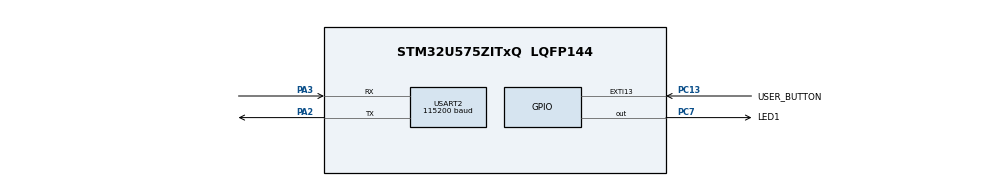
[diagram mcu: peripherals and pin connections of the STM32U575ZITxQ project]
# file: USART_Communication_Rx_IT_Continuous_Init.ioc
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CORTEX_M33_NS.userName=CORTEX_M33
Mcu.Family=STM32U5
Mcu.Name=STM32U575ZITxQ
Mcu.Package=LQFP144
NVIC.EXTI13_IRQn=true\:3\:0\:true\:false\:true\:true\:true\:true
NVIC.PriorityGroup=NVIC_PRIORITYGROUP_4
NVIC.USART2_IRQn=true\:0\:0\:false\:false\:true\:true\:true\:true
PA2.GPIO_PuPd=GPIO_NOPULL
PA2.GPIO_Speed=GPIO_SPEED_FREQ_HIGH
PA2.Mode=Asynchronous
PA2.Signal=USART2_TX
PA3.GPIO_PuPd=GPIO_NOPULL
PA3.GPIO_Speed=GPIO_SPEED_FREQ_HIGH
PA3.Mode=Asynchronous
PA3.Signal=USART2_RX
PC13.GPIO_Label=USER_BUTTON
PC13.GPIO_ModeDefaultEXTI=GPIO_MODE_IT_FALLING
PC13.GPIO_PuPd=GPIO_NOPULL
PC13.Signal=GPXTI13
PC7.GPIO_Label=LED1
PC7.GPIO_PuPd=GPIO_NOPULL
PC7.Signal=GPIO_Output
PWR.PowerMode=PWR_SMPS_SUPPLY
ProjectManager.HeapSize=0x200
ProjectManager.StackSize=0x400
ProjectManager.TargetToolchain=EWARM V8.50
RCC.ADCFreq_Value=16000000
RCC.AHBFreq_Value=160000000
RCC.APB1Freq_Value=160000000
RCC.APB1TimFreq_Value=160000000
RCC.APB2Freq_Value=160000000
RCC.APB2TimFreq_Value=160000000
RCC.APB3Freq_Value=160000000
RCC.CortexFreq_Value=160000000
RCC.DACCLockSelectionVirtual=RCC_DAC1CLKSOURCE_LSI
RCC.DACCLockSelectionVirtualString=RCC_DAC1CLKSOURCE_LSI
RCC.EPOD_VALUE=4000000
RCC.HCLKFreq_Value=160000000
RCC.HSE_VALUE=16000000
RCC.HSI48_VALUE=48000000
RCC.HSI_VALUE=16000000
RCC.LSE_VALUE=32768
RCC.LSIDIV_VALUE=32000
RCC.MSI_VALUE=4000000
RCC.PLLN=80
RCC.SYSCLKFreq_VALUE=160000000
RCC.SYSCLKSource=RCC_SYSCLKSOURCE_PLLCLK
RCC.USBFreq_Value=48000000
RCC.VCOOutputFreq_Value=320000000
USART2.AutoBaudRateEnableParam=UART_ADVFEATURE_AUTOBAUDRATE_DISABLE
USART2.BaudRate=115200
USART2.ClockPrescaler=PRESCALER_DIV1
USART2.DMADisableonRxErrorParam=ADVFEATURE_DMA_ENABLEONRXERROR
USART2.DataInvertParam=ADVFEATURE_DATAINV_DISABLE
USART2.FIFOMode=FIFOMODE_DISABLE
USART2.MSBFirstParam=ADVFEATURE_MSBFIRST_DISABLE
USART2.Mode=MODE_TX_RX
USART2.OneBitSampling=UART_ONE_BIT_SAMPLE_DISABLE
USART2.OverSampling=UART_OVERSAMPLING_16
USART2.OverrunDisableParam=ADVFEATURE_OVERRUN_ENABLE
USART2.Parity=PARITY_NONE
USART2.RXFIFOThreshold=RXFIFO_THRESHOLD_1EIGHTHFULL
USART2.RxPinLevelInvertParam=ADVFEATURE_RXINV_DISABLE
USART2.StopBits=STOPBITS_1
USART2.SwapParam=ADVFEATURE_SWAP_DISABLE
USART2.TXFIFOThreshold=TXFIFO_THRESHOLD_1EIGHTHFULL
USART2.TxPinLevelInvertParam=ADVFEATURE_TXINV_DISABLE
USART2.VirtualMode-Asynchronous=VM_ASYNC
USART2.WordLength=WORDLENGTH_8B
VP_ICACHE_VS_ICACHE.Mode=DirectMappedCache
VP_LPBAMQUEUE_VS_QUEUE.Mode=QUEUEMODE
VP_LPBAM_VS_SIG1.Mode=SmartRun
VP_LPBAM_VS_SIG4.Mode=LPDMA1
VP_PWR_VS_DBSignals.Mode=DisableDeadBatterySignals
VP_PWR_VS_LPOM.Mode=PowerOptimisation
VP_PWR_VS_SECSignals.Mode=Security/Privilege
board=custom

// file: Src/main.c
/* USER CODE BEGIN Header */
/**
  ******************************************************************************
  * @file    Examples_LL/USART/USART_Communication_Rx_IT_Continuous_Init/Src/main.c
  * @author  MCD Application Team
  * @brief   This example describes how to send bytes over USART IP using
  *          the STM32U5xx USART LL API.
  *          Peripheral initialization done using LL unitary services functions.
  ******************************************************************************
  * @attention
  *
  * Copyright (c) 2021 STMicroelectronics.
  * All rights reserved.
  *
  * This software is licensed under terms that can be found in the LICENSE file
  * in the root directory of this software component.
  * If no LICENSE file comes with this software, it is provided AS-IS.
  *
  ******************************************************************************
  */
/* USER CODE END Header */
#include "main.h"

/* USER CODE BEGIN PD */

#define RX_BUFFER_SIZE   12

/* USER CODE END PD */

/* USER CODE BEGIN PV */

__IO uint8_t ubButtonPress = 0;

/**
  * @brief Text strings printed on PC Com port for user information
  */
uint8_t aTextInfoStart[] = "\r\nUSART Example : Enter characters to fill reception buffers.\r\n";
uint8_t aTextInfoSwap1[] = "\r\n- Current RX buffer is full : ";
uint8_t aTextInfoSwap2[] = "\r\n- Reception will go on in alternate buffer\r\n";

/**
  * @brief RX buffers for storing received data
  */
uint8_t aRXBufferA[RX_BUFFER_SIZE];
uint8_t aRXBufferB[RX_BUFFER_SIZE];
__IO uint32_t     uwNbReceivedChars;
__IO uint32_t     uwBufferReadyIndication;
uint8_t *pBufferReadyForUser;
uint8_t *pBufferReadyForReception;

/* USER CODE END PV */

void SystemClock_Config(void);
static void SystemPower_Config(void);
static void MX_GPIO_Init(void);
static void MX_ICACHE_Init(void);
static void MX_USART2_UART_Init(void);
/* USER CODE BEGIN PFP */

void     HandleContinuousReception(void);
void     LED_Off(void);
void     LED_Blinking(uint32_t Period);
void     WaitForUserButtonPress(void);
void     PrintInfo(uint8_t *String, uint32_t Size);
void     UserDataTreatment(uint8_t *DataBuffer, uint32_t Size);
void     StartReception(void);
/* USER CODE END PFP */

int main(void)
{

  /* MCU Configuration--------------------------------------------------------*/

  /* Reset of all peripherals, Initializes the Flash interface and the Systick. */

  /* System interrupt init*/
  NVIC_SetPriorityGrouping(NVIC_PRIORITYGROUP_4);

  /* Enable PWR clock interface */

  LL_AHB3_GRP1_EnableClock(LL_AHB3_GRP1_PERIPH_PWR);

  /* Configure the System Power */
  SystemPower_Config();

  /* Configure the system clock */
  SystemClock_Config();

  /* Initialize all configured peripherals */
  MX_GPIO_Init();
  MX_ICACHE_Init();
  MX_USART2_UART_Init();
  /* USER CODE BEGIN 2 */

  /* Polling USART initialisation */
  /* Set LED1 Off */
  LED_Off();

  /* Wait for User push-button press to start transfer */
  WaitForUserButtonPress();

  /* Initiate Continuous reception */
  StartReception();

  /* USER CODE END 2 */

  /* Infinite loop */
  /* USER CODE BEGIN WHILE */
  while (1)
  {
    /* Handle Continuous reception */
    HandleContinuousReception();
    /* USER CODE END WHILE */

  }
}

void SystemClock_Config(void)
{
  LL_FLASH_SetLatency(LL_FLASH_LATENCY_4);
  while(LL_FLASH_GetLatency()!= LL_FLASH_LATENCY_4)
  {
  }

  LL_PWR_SetRegulVoltageScaling(LL_PWR_REGU_VOLTAGE_SCALE1);
  while (LL_PWR_IsActiveFlag_VOS() == 0)
  {
  }
  LL_RCC_MSIS_Enable();

   /* Wait till MSIS is ready */
  while(LL_RCC_MSIS_IsReady() != 1)
  {
  }

  LL_RCC_MSI_EnableRangeSelection();
  LL_RCC_MSIS_SetRange(LL_RCC_MSISRANGE_4);
  LL_RCC_MSI_SetCalibTrimming(16, LL_RCC_MSI_OSCILLATOR_1);
  LL_RCC_PLL1_ConfigDomain_SYS(LL_RCC_PLL1SOURCE_MSIS, 1, 80, 2);
  LL_RCC_PLL1_EnableDomain_SYS();
  LL_RCC_SetPll1EPodPrescaler(LL_RCC_PLL1MBOOST_DIV_1);
  LL_RCC_PLL1_SetVCOInputRange(LL_RCC_PLLINPUTRANGE_4_8);
  LL_RCC_PLL1_Enable();

   /* Wait till PLL is ready */
  while(LL_RCC_PLL1_IsReady() != 1)
  {
  }

   /* Intermediate AHB prescaler 2 when target frequency clock is higher than 80 MHz */
  LL_RCC_SetAHBPrescaler(LL_RCC_SYSCLK_DIV_2);

  LL_RCC_SetSysClkSource(LL_RCC_SYS_CLKSOURCE_PLL1);

   /* Wait till System clock is ready */
  while(LL_RCC_GetSysClkSource() != LL_RCC_SYS_CLKSOURCE_STATUS_PLL1)
  {
  }

  /* Insure 1us transition state at intermediate medium speed clock*/
  for (__IO uint32_t i = (160 >> 1); i !=0; i--);

  LL_RCC_SetAHBPrescaler(LL_RCC_SYSCLK_DIV_1);
  LL_RCC_SetAPB1Prescaler(LL_RCC_APB1_DIV_1);
  LL_RCC_SetAPB2Prescaler(LL_RCC_APB2_DIV_1);
  LL_RCC_SetAPB3Prescaler(LL_RCC_APB3_DIV_1);

  LL_Init1msTick(160000000);

  LL_SetSystemCoreClock(160000000);
}

/**
  * @brief Power Configuration
  * @retval None
  */
static void SystemPower_Config(void)
{

  /*
   * Disable the internal Pull-Up in Dead Battery pins of UCPD peripheral
   */
  LL_PWR_DisableUCPDDeadBattery();

  /*
   * Switch to SMPS regulator instead of LDO
   */
  LL_PWR_SetRegulatorSupply(LL_PWR_SMPS_SUPPLY);

  while(LL_PWR_IsActiveFlag_REGULATOR()!=1)
  {
  }
}

static void MX_ICACHE_Init(void)
{

  /** Enable instruction cache in 1-way (direct mapped cache)
  */
  LL_ICACHE_SetMode(LL_ICACHE_1WAY);
  LL_ICACHE_Enable();

}

static void MX_USART2_UART_Init(void)
{

  LL_USART_InitTypeDef USART_InitStruct = {0};

  LL_GPIO_InitTypeDef GPIO_InitStruct = {0};

  LL_RCC_SetUSARTClockSource(LL_RCC_USART2_CLKSOURCE_PCLK1);

  /* Peripheral clock enable */
  LL_APB1_GRP1_EnableClock(LL_APB1_GRP1_PERIPH_USART2);

  LL_AHB2_GRP1_EnableClock(LL_AHB2_GRP1_PERIPH_GPIOA);
  /**USART2 GPIO Configuration
  PA2   ------> USART2_TX
  PA3   ------> USART2_RX
  */
  GPIO_InitStruct.Pin = LL_GPIO_PIN_2|LL_GPIO_PIN_3;
  GPIO_InitStruct.Mode = LL_GPIO_MODE_ALTERNATE;
  GPIO_InitStruct.Speed = LL_GPIO_SPEED_FREQ_HIGH;
  GPIO_InitStruct.OutputType = LL_GPIO_OUTPUT_PUSHPULL;
  GPIO_InitStruct.Pull = LL_GPIO_PULL_NO;
  GPIO_InitStruct.Alternate = LL_GPIO_AF_7;
  LL_GPIO_Init(GPIOA, &GPIO_InitStruct);

  /* USART2 interrupt Init */
  NVIC_SetPriority(USART2_IRQn, NVIC_EncodePriority(NVIC_GetPriorityGrouping(),0, 0));
  NVIC_EnableIRQ(USART2_IRQn);

  USART_InitStruct.PrescalerValue = LL_USART_PRESCALER_DIV1;
  USART_InitStruct.BaudRate = 115200;
  USART_InitStruct.DataWidth = LL_USART_DATAWIDTH_8B;
  USART_InitStruct.StopBits = LL_USART_STOPBITS_1;
  USART_InitStruct.Parity = LL_USART_PARITY_NONE;
  USART_InitStruct.TransferDirection = LL_USART_DIRECTION_TX_RX;
  USART_InitStruct.HardwareFlowControl = LL_USART_HWCONTROL_NONE;
  USART_InitStruct.OverSampling = LL_USART_OVERSAMPLING_16;
  LL_USART_Init(USART2, &USART_InitStruct);
  LL_USART_SetTXFIFOThreshold(USART2, LL_USART_FIFOTHRESHOLD_1_8);
  LL_USART_SetRXFIFOThreshold(USART2, LL_USART_FIFOTHRESHOLD_1_8);
  LL_USART_DisableFIFO(USART2);
  LL_USART_ConfigAsyncMode(USART2);
  LL_USART_Enable(USART2);

}

static void MX_GPIO_Init(void)
{
  LL_EXTI_InitTypeDef EXTI_InitStruct = {0};
  LL_GPIO_InitTypeDef GPIO_InitStruct = {0};

  /* GPIO Ports Clock Enable */
  LL_AHB2_GRP1_EnableClock(LL_AHB2_GRP1_PERIPH_GPIOC);
  LL_AHB2_GRP1_EnableClock(LL_AHB2_GRP1_PERIPH_GPIOA);

  /**/
  LL_GPIO_ResetOutputPin(LED1_GPIO_Port, LED1_Pin);

  /**/
  LL_EXTI_SetEXTISource(LL_EXTI_EXTI_PORTC, LL_EXTI_EXTI_LINE13);

  /**/
  EXTI_InitStruct.Line_0_31 = LL_EXTI_LINE_13;
  EXTI_InitStruct.LineCommand = ENABLE;
  EXTI_InitStruct.Mode = LL_EXTI_MODE_IT;
  EXTI_InitStruct.Trigger = LL_EXTI_TRIGGER_FALLING;
  LL_EXTI_Init(&EXTI_InitStruct);

  /**/
  LL_GPIO_SetPinPull(USER_BUTTON_GPIO_Port, USER_BUTTON_Pin, LL_GPIO_PULL_NO);

  /**/
  LL_GPIO_SetPinMode(USER_BUTTON_GPIO_Port, USER_BUTTON_Pin, LL_GPIO_MODE_INPUT);

  /**/
  GPIO_InitStruct.Pin = LED1_Pin;
  GPIO_InitStruct.Mode = LL_GPIO_MODE_OUTPUT;
  GPIO_InitStruct.Speed = LL_GPIO_SPEED_FREQ_LOW;
  GPIO_InitStruct.OutputType = LL_GPIO_OUTPUT_PUSHPULL;
  GPIO_InitStruct.Pull = LL_GPIO_PULL_NO;
  LL_GPIO_Init(LED1_GPIO_Port, &GPIO_InitStruct);

  /* EXTI interrupt init*/
  NVIC_SetPriority(EXTI13_IRQn, NVIC_EncodePriority(NVIC_GetPriorityGrouping(),3, 0));
  NVIC_EnableIRQ(EXTI13_IRQn);

}

/* USER CODE BEGIN 4 */

/**
  * @brief  This function prints user info on PC com port and initiates RX transfer
  * @param  None
  * @retval None
  */
void StartReception(void)
{
  /* Initializes Buffer swap mechanism :
     - 2 physical buffers aRXBufferA and aRXBufferB (RX_BUFFER_SIZE length)

  */
  pBufferReadyForReception = aRXBufferA;
  pBufferReadyForUser      = aRXBufferB;
  uwNbReceivedChars = 0;
  uwBufferReadyIndication = 0;

  /* Print user info on PC com port */
  PrintInfo(aTextInfoStart, sizeof(aTextInfoStart));

  /* Clear Overrun flag, in case characters have already been sent to USART */
  LL_USART_ClearFlag_ORE(USART2);

  /* Enable RXNE and Error interrupts */
  LL_USART_EnableIT_RXNE(USART2);
  LL_USART_EnableIT_ERROR(USART2);
}

/**
  * @brief  This function monitors buffer filling indication and calls User callbacks when a buffer is full
  * @param  None
  * @retval None
  */
void HandleContinuousReception(void)
{
  /* Checks if Buffer full indication has been set */
  if (uwBufferReadyIndication != 0)
  {
    /* Reset indication */
    uwBufferReadyIndication = 0;

    /* Call user Callback in charge of consuming data from filled buffer */
    UserDataTreatment(pBufferReadyForUser, RX_BUFFER_SIZE);
  }
}

/**
  * @brief  Turn-off LED1.
  * @param  None
  * @retval None
  */
void LED_Off(void)
{
  /* Turn LED1 off */
  LL_GPIO_ResetOutputPin(LED1_GPIO_Port, LED1_Pin);
}

/**
  * @brief  Set LED1 to Blinking mode for an infinite loop (toggle period based on value provided as input parameter).
  * @param  Period : Period of time (in ms) between each toggling of LED
  *   This parameter can be user defined values. Pre-defined values used in that example are :
  *     @arg LED_BLINK_FAST : Fast Blinking
  *     @arg LED_BLINK_SLOW : Slow Blinking
  *     @arg LED_BLINK_ERROR : Error specific Blinking
  * @retval None
  */
void LED_Blinking(uint32_t Period)
{
  /* Toggle LED1 in an infinite loop */
  while (1)
  {
    LL_GPIO_TogglePin(LED1_GPIO_Port, LED1_Pin);
    LL_mDelay(Period);
  }
}

/**
  * @brief  Wait for User push-button press to start transfer.
  * @param  None
  * @retval None
  */
/*  */
void WaitForUserButtonPress(void)
{
  while (ubButtonPress == 0)
  {
    LL_GPIO_TogglePin(LED1_GPIO_Port, LED1_Pin);
    LL_mDelay(LED_BLINK_FAST);
  }
  /* Ensure that LED1 is turned Off */
  LED_Off();
}

/**
  * @brief  Send Txt information message on USART Tx line (to PC Com port).
  * @param  None
  * @retval None
  */
void PrintInfo(uint8_t *String, uint32_t Size)
{
  uint32_t index = 0;
  uint8_t *pchar = String;

  /* Send characters one per one, until last char to be sent */
  for (index = 0; index < Size; index++)
  {
    /* Wait for TXE flag to be raised */
    while (!LL_USART_IsActiveFlag_TXE(USART2))
    {
    }

    /* Write character in Transmit Data register.
       TXE flag is cleared by writing data in TDR register */
    LL_USART_TransmitData8(USART2, *pchar++);
  }

  /* Wait for TC flag to be raised for last char */
  while (!LL_USART_IsActiveFlag_TC(USART2))
  {
  }
}

/**
  * @brief  Example of User callback in charge of consuming received data.
  * @param  None
  * @retval None
  */
void UserDataTreatment(uint8_t *DataBuffer, uint32_t Size)
{
  /* Display info message + buffer content on PC com port */
  PrintInfo(aTextInfoSwap1, sizeof(aTextInfoSwap1));
  PrintInfo(DataBuffer, Size);
  PrintInfo(aTextInfoSwap2, sizeof(aTextInfoSwap2));

  /* Toggle LED */
  LL_GPIO_TogglePin(LED1_GPIO_Port, LED1_Pin);
}

/******************************************************************************/
/*   USER IRQ HANDLER TREATMENT Functions                                     */
/******************************************************************************/
/**
  * @brief  Function to manage User push-button
  * @param  None
  * @retval None
  */
void UserButton_Callback(void)
{
  /* Update User push-button variable : to be checked in waiting loop in main program */
  ubButtonPress = 1;
}

/**
  * @brief  Function called from USART IRQ Handler when RXNE flag is set
  *         Function is in charge of reading character received on USART RX line.
  * @param  None
  * @retval None
  */
void USART_CharReception_Callback(void)
{
  uint8_t *ptemp;

  /* Read Received character. RXNE flag is cleared by reading of RDR register */
  pBufferReadyForReception[uwNbReceivedChars++] = LL_USART_ReceiveData8(USART2);

  /* Checks if Buffer full indication has been set */
  if (uwNbReceivedChars >= RX_BUFFER_SIZE)
  {
    /* Set Buffer swap indication */
    uwBufferReadyIndication = 1;

    /* Swap buffers for next bytes to be received */
    ptemp = pBufferReadyForUser;
    pBufferReadyForUser = pBufferReadyForReception;
    pBufferReadyForReception = ptemp;
    uwNbReceivedChars = 0;
  }
}

/**
  * @brief  Function called in case of error detected in USART IT Handler
  * @param  None
  * @retval None
  */
void Error_Callback(void)
{
  __IO uint32_t isr_reg;

  /* Disable USARTx_IRQn */
  NVIC_DisableIRQ(USART2_IRQn);

  /* Error handling example :
    - Read USART ISR register to identify flag that leads to IT raising
    - Perform corresponding error handling treatment according to flag
  */
  isr_reg = LL_USART_ReadReg(USART2, ISR);
  if (isr_reg & LL_USART_ISR_NE)
  {
    /* case Noise Error flag is raised : Clear NF Flag */
    LL_USART_ClearFlag_NE(USART2);
  }
  else
  {
    /* Unexpected IT source : Set LED to Blinking mode to indicate error occurs */
    LED_Blinking(LED_BLINK_ERROR);
  }
}

/* USER CODE END 4 */

void Error_Handler(void)
{
}
